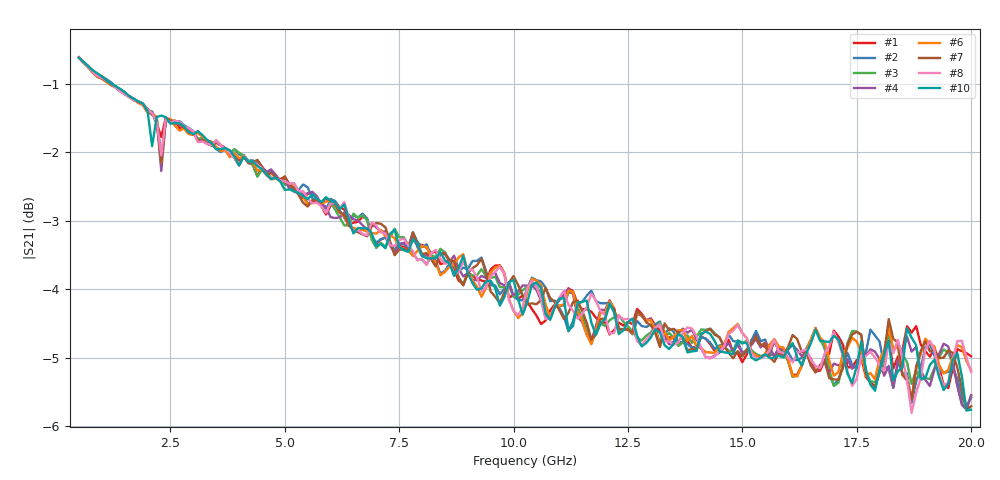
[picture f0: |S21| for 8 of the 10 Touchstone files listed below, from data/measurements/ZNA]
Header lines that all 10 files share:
!Created with skrf (http://scikit-rf.org).
# GHz S RI R 50.0
!freq ReS11 ImS11 ReS21 ImS21 ReS12 ImS12 ReS22 ImS22
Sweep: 500 MHz to 20 GHz
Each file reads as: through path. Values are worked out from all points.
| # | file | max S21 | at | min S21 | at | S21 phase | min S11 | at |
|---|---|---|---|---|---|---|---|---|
| 1 | line_000mm.s2p | -0.62 dB | 500 MHz | -5.4 dB | 19.5 GHz | 64 deg at 10.3 GHz | -33.5 dB | 1 GHz |
| 2 | line_021mm.s2p | -0.61 dB | 500 MHz | -5.7 dB | 19.9 GHz | 68 deg at 10.3 GHz | -30.8 dB | 600 MHz |
| 3 | line_066mm.s2p | -0.61 dB | 500 MHz | -5.7 dB | 19.9 GHz | 67 deg at 10.3 GHz | -29.4 dB | 500 MHz |
| 4 | line_081mm.s2p | -0.61 dB | 500 MHz | -5.8 dB | 19.9 GHz | 66 deg at 10.3 GHz | -29.2 dB | 500 MHz |
| 5 | line_084mm.s2p | -0.61 dB | 500 MHz | -5.9 dB | 18.7 GHz | 64 deg at 10.3 GHz | -29.2 dB | 500 MHz |
| 6 | line_093mm.s2p | -0.61 dB | 500 MHz | -5.6 dB | 18.7 GHz | 68 deg at 10.3 GHz | -29.1 dB | 500 MHz |
| 7 | line_117mm.s2p | -0.62 dB | 500 MHz | -5.8 dB | 19.9 GHz | 64 deg at 10.3 GHz | -28.8 dB | 500 MHz |
| 8 | line_123mm.s2p | -0.62 dB | 500 MHz | -5.8 dB | 18.7 GHz | 68 deg at 10.3 GHz | -29.9 dB | 900 MHz |
| 9 | line_171mm.s2p | -0.62 dB | 500 MHz | -5.8 dB | 18.7 GHz | 63 deg at 10.3 GHz | -28.8 dB | 500 MHz |
| 10 | line_192mm.s2p | -0.62 dB | 500 MHz | -5.8 dB | 19.9 GHz | 67 deg at 10.3 GHz | -29.3 dB | 700 MHz |
